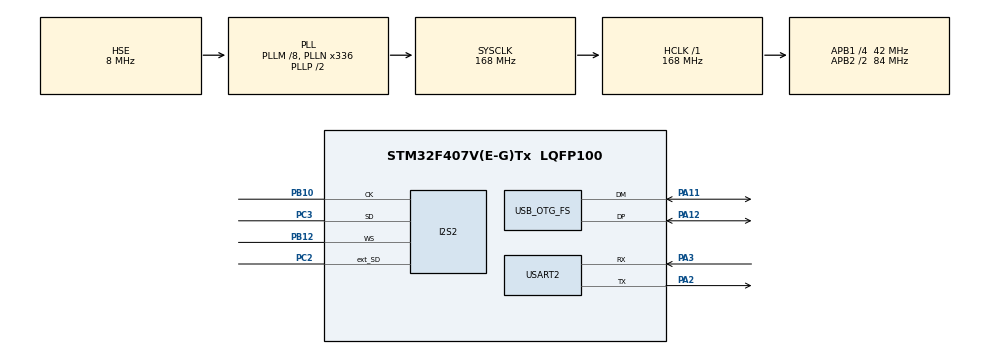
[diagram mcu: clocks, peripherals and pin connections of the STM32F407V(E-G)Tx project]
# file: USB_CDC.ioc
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Dma.Request0=SPI2_TX
Dma.SPI2_TX.0.Direction=DMA_MEMORY_TO_PERIPH
Dma.SPI2_TX.0.FIFOMode=DMA_FIFOMODE_DISABLE
Dma.SPI2_TX.0.Instance=DMA1_Stream4
Dma.SPI2_TX.0.MemDataAlignment=DMA_MDATAALIGN_HALFWORD
Dma.SPI2_TX.0.MemInc=DMA_MINC_ENABLE
Dma.SPI2_TX.0.Mode=DMA_NORMAL
Dma.SPI2_TX.0.PeriphDataAlignment=DMA_PDATAALIGN_HALFWORD
Dma.SPI2_TX.0.PeriphInc=DMA_PINC_DISABLE
Dma.SPI2_TX.0.Priority=DMA_PRIORITY_VERY_HIGH
I2S2.AudioFreq=I2S_AUDIOFREQ_96K
I2S2.DataFormat=I2S_DATAFORMAT_16B
I2S2.ErrorAudioFreq=0.0 %
I2S2.FullDuplexMode=I2S_FULLDUPLEXMODE_ENABLE
I2S2.Instance=SPI$Index
I2S2.RealAudioFreq=96.0 KHz
I2S2.VirtualMode=I2S_MODE_MASTER
Mcu.Family=STM32F4
Mcu.Name=STM32F407V(E-G)Tx
Mcu.Package=LQFP100
NVIC.DMA1_Stream4_IRQn=true\:0\:0\:false\:false\:true\:false\:true\:true
NVIC.OTG_FS_IRQn=true\:0\:0\:false\:false\:true\:false\:true\:true
NVIC.PriorityGroup=NVIC_PRIORITYGROUP_4
NVIC.SPI2_IRQn=true\:0\:0\:false\:false\:true\:true\:true\:true
NVIC.USART2_IRQn=true\:0\:0\:false\:false\:true\:true\:true\:true
PA11.Mode=Device_Only
PA11.Signal=USB_OTG_FS_DM
PA12.Mode=Device_Only
PA12.Signal=USB_OTG_FS_DP
PA13.Mode=Serial_Wire
PA13.Signal=SYS_JTMS-SWDIO
PA14.Mode=Serial_Wire
PA14.Signal=SYS_JTCK-SWCLK
PA2.Mode=Asynchronous
PA2.Signal=USART2_TX
PA3.Mode=Asynchronous
PA3.Signal=USART2_RX
PB10.Mode=Full_Duplex_Master
PB10.Signal=I2S2_CK
PB12.Mode=Full_Duplex_Master
PB12.Signal=I2S2_WS
PC14-OSC32_IN.Mode=LSE-External-Oscillator
PC14-OSC32_IN.Signal=RCC_OSC32_IN
PC15-OSC32_OUT.Mode=LSE-External-Oscillator
PC15-OSC32_OUT.Signal=RCC_OSC32_OUT
PC2.Mode=Full_Duplex_Master
PC2.Signal=I2S2_ext_SD
PC3.Mode=Full_Duplex_Master
PC3.Signal=I2S2_SD
PH0-OSC_IN.Mode=HSE-External-Oscillator
PH0-OSC_IN.Signal=RCC_OSC_IN
PH1-OSC_OUT.Mode=HSE-External-Oscillator
PH1-OSC_OUT.Signal=RCC_OSC_OUT
ProjectManager.HeapSize=0x200
ProjectManager.StackSize=0x400
ProjectManager.TargetToolchain=MDK-ARM V5.32
RCC.48MHZClocksFreq_Value=48000000
RCC.AHBFreq_Value=168000000
RCC.APB1CLKDivider=RCC_HCLK_DIV4
RCC.APB1Freq_Value=42000000
RCC.APB1TimFreq_Value=84000000
RCC.APB2CLKDivider=RCC_HCLK_DIV2
RCC.APB2Freq_Value=84000000
RCC.APB2TimFreq_Value=168000000
RCC.CortexFreq_Value=168000000
RCC.HCLKFreq_Value=168000000
RCC.HSE_VALUE=8000000
RCC.HSI_VALUE=16000000
RCC.PLLI2SN=384
RCC.PLLI2SR=5
RCC.PLLM=8
RCC.PLLN=336
RCC.PLLQ=7
RCC.SYSCLKFreq_VALUE=168000000
RCC.SYSCLKSource=RCC_SYSCLKSOURCE_PLLCLK
RCC.VCOOutputFreq_Value=336000000
USART2.VirtualMode=VM_ASYNC
USB_DEVICE.CLASS_NAME_FS=AUDIO
USB_DEVICE.PID_AUDIO_FS=22338
USB_DEVICE.USBD_AUDIO_FREQ-AUDIO_FS=48000
USB_DEVICE.VirtualMode-AUDIO_FS=Audio
USB_DEVICE.VirtualModeFS=Audio_FS
USB_OTG_FS.VirtualMode=Device_Only
VP_USB_DEVICE_VS_USB_DEVICE_AUDIO_FS.Mode=AUDIO_FS
board=custom

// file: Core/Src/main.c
/* USER CODE BEGIN Header */
/**
  ******************************************************************************
  * @file           : main.c
  * @brief          : Main program body
  ******************************************************************************
  * @attention
  *
  * Copyright (c) 2026 STMicroelectronics.
  * All rights reserved.
  *
  * This software is licensed under terms that can be found in the LICENSE file
  * in the root directory of this software component.
  * If no LICENSE file comes with this software, it is provided AS-IS.
  *
  ******************************************************************************
  */
/* USER CODE END Header */
#include "main.h"
#include "dma.h"
#include "i2s.h"
#include "usart.h"
#include "usb_device.h"
#include "gpio.h"

/* USER CODE BEGIN Includes */
#include "stdio.h"
#include "string.h"
#include "usbd_audio_if.h"
#include "usb_ringbuffer.h"
/* USER CODE END Includes */

/* USER CODE BEGIN PD */
 extern volatile uint32_t dbg_rx, dbg_st, dbg_pl, dbg_ht, dbg_tc,dbg_pkt, dbg_sz;
 extern volatile uint32_t dbg_dma_error;
 extern DMA_HandleTypeDef hdma_spi2_tx;
/* USER CODE END PD */

/* USER CODE BEGIN PV */
static uint8_t usb_tx_buffer[RING_BUF_SIZE];

/* USER CODE END PV */

void SystemClock_Config(void);

int main(void)
{

  /* MCU Configuration--------------------------------------------------------*/

  /* Reset of all peripherals, Initializes the Flash interface and the Systick. */
  HAL_Init();

  /* Configure the system clock */
  SystemClock_Config();

  /* Initialize all configured peripherals */
  MX_GPIO_Init();
  MX_DMA_Init();
  MX_USB_DEVICE_Init();
  MX_USART2_UART_Init();
  MX_I2S2_Init();
  /* USER CODE BEGIN 2 */
	printf("\r\n=== AudioDBG build %s %s ===\r\n", __DATE__, __TIME__);
  /* USER CODE END 2 */

  /* Infinite loop */
  while (1)
  {

    /* USER CODE BEGIN 3 */

		   static uint32_t t0 = 0;
  if (HAL_GetTick() - t0 >= 1000U) {
      t0 = HAL_GetTick();
      printf("rx=%lu st=%lu pl=%lu ht=%lu tc=%lu pkt=%lu sz=%lu err=%lu i2s=%u ndtr=%lu\r\n",
             dbg_rx, dbg_st, dbg_pl, dbg_ht, dbg_tc, dbg_pkt, dbg_sz,
             dbg_dma_error, (unsigned int)hi2s2.State,
             (unsigned long)hdma_spi2_tx.Instance->NDTR);
  }
//  if (CDC_IsTxBusy_FS() == 0U) {
//    rx_data = ring_peek(&usb_rx_ring, &tx_len);
//    if ((rx_data != 0) && (tx_len > 0U)) {
//      memcpy(usb_tx_buffer, rx_data, tx_len);
//      if (CDC_Transmit_FS(usb_tx_buffer, (uint16_t)tx_len) == USBD_OK) {
//        ring_advance(&usb_rx_ring, tx_len);
//      }
//    }
//  }
  }
  /* USER CODE END 3 */
}

void SystemClock_Config(void)
{
  RCC_OscInitTypeDef RCC_OscInitStruct = {0};
  RCC_ClkInitTypeDef RCC_ClkInitStruct = {0};

  /** Configure the main internal regulator output voltage
  */
  __HAL_RCC_PWR_CLK_ENABLE();
  __HAL_PWR_VOLTAGESCALING_CONFIG(PWR_REGULATOR_VOLTAGE_SCALE1);

  /** Initializes the RCC Oscillators according to the specified parameters
  * in the RCC_OscInitTypeDef structure.
  */
  RCC_OscInitStruct.OscillatorType = RCC_OSCILLATORTYPE_HSE;
  RCC_OscInitStruct.HSEState = RCC_HSE_ON;
  RCC_OscInitStruct.PLL.PLLState = RCC_PLL_ON;
  RCC_OscInitStruct.PLL.PLLSource = RCC_PLLSOURCE_HSE;
  RCC_OscInitStruct.PLL.PLLM = 8;
  RCC_OscInitStruct.PLL.PLLN = 336;
  RCC_OscInitStruct.PLL.PLLP = RCC_PLLP_DIV2;
  RCC_OscInitStruct.PLL.PLLQ = 7;
  if (HAL_RCC_OscConfig(&RCC_OscInitStruct) != HAL_OK)
  {
    Error_Handler();
  }

  /** Initializes the CPU, AHB and APB buses clocks
  */
  RCC_ClkInitStruct.ClockType = RCC_CLOCKTYPE_HCLK|RCC_CLOCKTYPE_SYSCLK
                              |RCC_CLOCKTYPE_PCLK1|RCC_CLOCKTYPE_PCLK2;
  RCC_ClkInitStruct.SYSCLKSource = RCC_SYSCLKSOURCE_PLLCLK;
  RCC_ClkInitStruct.AHBCLKDivider = RCC_SYSCLK_DIV1;
  RCC_ClkInitStruct.APB1CLKDivider = RCC_HCLK_DIV4;
  RCC_ClkInitStruct.APB2CLKDivider = RCC_HCLK_DIV2;

  if (HAL_RCC_ClockConfig(&RCC_ClkInitStruct, FLASH_LATENCY_5) != HAL_OK)
  {
    Error_Handler();
  }
}

void Error_Handler(void)
{
  __disable_irq();
  while (1)
  {
  }
}
